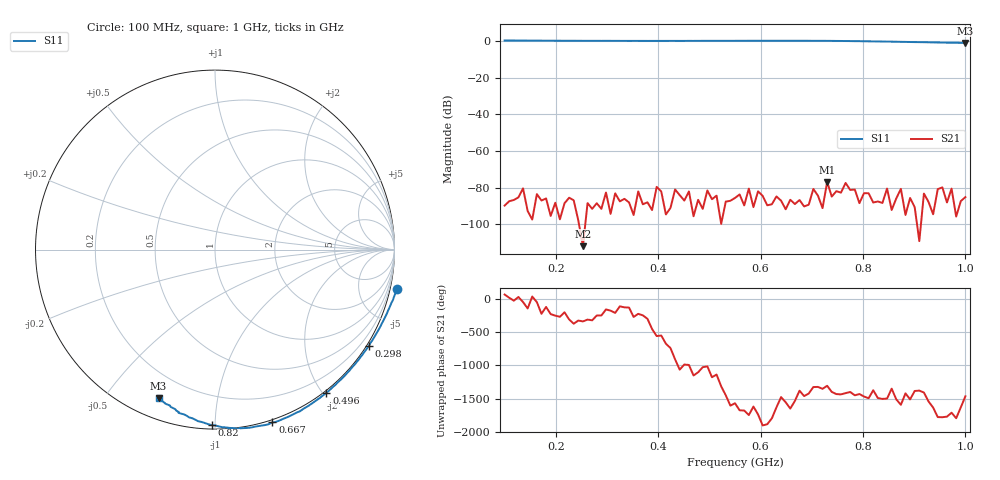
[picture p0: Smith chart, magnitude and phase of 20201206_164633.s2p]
# HZ S RI R 50
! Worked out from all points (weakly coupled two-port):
!   101 points, 100 MHz to 1 GHz, reference 50 ohm
!   highest |S21| = -76.94 dB at 730 MHz (marker M1); lowest = -112.0 dB at 253 MHz (marker M2)
!   lowest |S11| = -1.1 dB at 1 GHz (marker M3), VSWR 16.36, Z = 4.5 - j34.3 ohm
!   |S11| at or under -10 dB: nowhere
!   S12 and S22 are empty: the file has one direction only
!   S11 on the Smith chart (normalised r, x): 100 MHz: -1.51, -9.09; 298 MHz: -0.08, -3.48; 496 MHz: -0.03, -2.05; 667 MHz: -0.02, -1.39; 820 MHz: 0.02, -0.98; 1 GHz: 0.09, -0.69
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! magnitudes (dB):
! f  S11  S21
! 100 MHz  0.3  -89.9
! 253 MHz  0.1  -112.0
! 298 MHz  0.1  -82.7
! 388 MHz  0.1  -92.3
! 397 MHz  0.1  -79.6
! 406 MHz  0.1  -82.2
! 496 MHz  0.1  -81.6
! 550 MHz  0.1  -85.7
! 667 MHz  0.1  -89.0
! 703 MHz  0.1  -80.8
! 721 MHz  0.1  -91.2
! 730 MHz  0.1  -76.9
! 739 MHz  0.1  -84.9
! 757 MHz  0.0  -82.8
! 766 MHz  0.0  -77.5
! 775 MHz  0.0  -81.3
! 820 MHz  -0.2  -88.2
! 856 MHz  -0.3  -92.2
! 946 MHz  -0.8  -80.9
! 955 MHz  -0.9  -79.9
! 964 MHz  -0.9  -88.2
! 1 GHz  -1.1  -85.2
